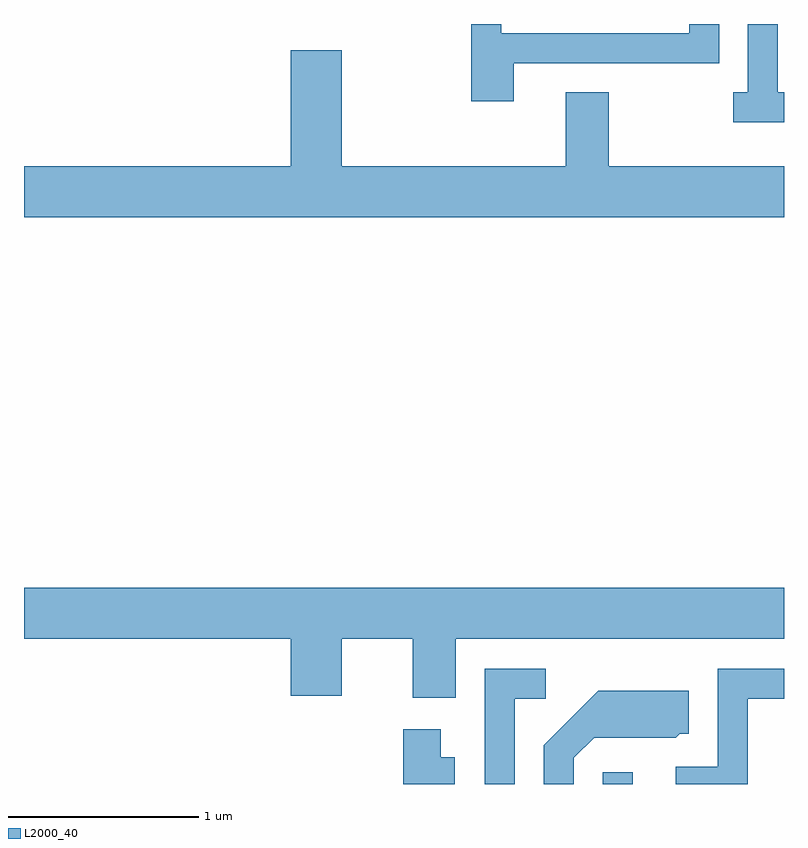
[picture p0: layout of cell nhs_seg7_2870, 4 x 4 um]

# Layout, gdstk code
import gdstk
lib = gdstk.Library(unit=1e-6, precision=1e-09)
def R(c, l, rs):  # rectangles x0, y0, x1, y1
    for r in rs: c.add(gdstk.rectangle(r[:2], r[2:], *l))
def P(c, l, *ps):  # polygons
    for p in ps: c.add(gdstk.Polygon(p, *l))
L2000_40 = (2000, 40)

nhs_seg7_2870 = lib.new_cell('nhs_seg7_2870')
R(nhs_seg7_2870, L2000_40, [(276.656,1680.252,276.814,1680.313)])
P(nhs_seg7_2870, L2000_40, [(276.189,1684.046),(277.269,1684.046),(277.269,1684.252),(277.111,1684.252),(277.111,1684.204),(276.124,1684.204),(276.124,1684.252),(275.966,1684.252),(275.966,1683.846),(276.189,1683.846)],
  [(277.611,1683.894),(277.579,1683.894),(277.579,1684.252),(277.421,1684.252),(277.421,1683.894),(277.343,1683.894),(277.343,1683.736),(277.611,1683.736)],
  [(277.611,1683.504),(276.689,1683.504),(276.689,1683.894),(276.461,1683.894),(276.461,1683.504),(275.284,1683.504),(275.284,1684.114),(275.016,1684.114),(275.016,1683.504),(273.611,1683.504),(273.611,1683.236),(277.611,1683.236)],
  [(275.884,1681.016),(277.611,1681.016),(277.611,1681.284),(273.611,1681.284),(273.611,1681.016),(275.016,1681.016),(275.016,1680.716),(275.284,1680.716),(275.284,1681.016),(275.656,1681.016),(275.656,1680.706),(275.884,1680.706)],
  [(277.419,1680.701),(277.611,1680.701),(277.611,1680.859),(277.261,1680.859),(277.261,1680.344),(277.041,1680.344),(277.041,1680.252),(277.419,1680.252)],
  [(276.194,1680.701),(276.358,1680.701),(276.358,1680.859),(276.036,1680.859),(276.036,1680.252),(276.194,1680.252)],
  [(276.504,1680.389),(276.612,1680.496),(277.042,1680.496),(277.062,1680.516),(277.109,1680.516),(277.109,1680.744),(276.634,1680.744),(276.346,1680.457),(276.346,1680.252),(276.504,1680.252)],
  [(275.879,1680.394),(275.804,1680.394),(275.804,1680.539),(275.606,1680.539),(275.606,1680.252),(275.879,1680.252)])

lib.write_gds('nhs_seg7_2870.gds')
